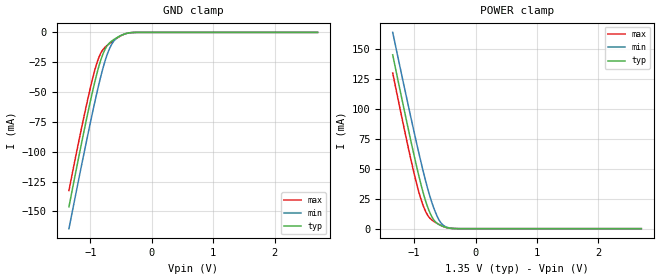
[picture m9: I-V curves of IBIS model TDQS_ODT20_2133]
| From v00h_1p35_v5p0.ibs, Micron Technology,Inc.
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| MODEL TDQS_ODT20_2133 (TDQS Terminator Model with 20ohm ODT, 2133Mbps)
[Model]   TDQS_ODT20_2133
Model_type   Terminator
|   typ   min   max
|C_comp   0.955pF   0.842pF   1.103pF
C_comp_power_clamp   0.4775pF   0.4210pF   0.5515pF
C_comp_gnd_clamp   0.4775pF   0.4210pF   0.5515pF
| Note: C_comp changes when the ODT circuit is enabled.
[Voltage Range]   1.3500V   1.2830V   1.4250V
| Junction Temperature (Ambient temp is 35C typ, 95C min, 0C max)
[Temperature Range]   50.0   110.0   0.0
[Add Submodel]
| Submodel Name   Mode
20ohm_ODT_2133   Non-Driving
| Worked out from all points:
|   GND clamp passes 1 mA (typ) near -0.42 V on its own axis
|   POWER clamp passes 1 mA (typ) near -0.48 V on its own axis
[GND Clamp]
|   Voltage   I(typ)   I(min)   I(max)
-1.35V    -146.2mA   -164.5mA   -132.5mA
-1.21V    -109.5mA   -128.1mA   -96.32mA
-1.08V    -76.63mA   -95.04mA   -64.51mA
-980mV    -52.82mA   -70.48mA   -41.89mA
-900mV    -35.56mA   -51.78mA   -26.51mA
-820mV    -21.43mA   -34.64mA   -16.33mA
-725mV    -11mA      -18.25mA   -10.77mA
-650mV    -7.118mA   -9.632mA   -7.774mA
-565mV    -4.295mA   -4.48mA    -4.739mA
-420mV    -972.8uA   -992.6uA   -972.2uA
-285mV    -51.4uA    -79.91uA   -32.63uA
2.7V      0A         0A         0A
[POWER Clamp]
|   Voltage   I(typ)   I(min)   I(max)
-1.35V    145.1mA    163.8mA    129.9mA
-1.18V    103.3mA    122.7mA    87.67mA
-1.055V   73.47mA    93.07mA    58.03mA
-960mV    51.8mA     71.21mA    37.44mA
-880mV    34.98mA    53.54mA    23.07mA
-790mV    19.4mA     35.26mA    12.01mA
-705mV    9.269mA    20.79mA    6.969mA
-605mV    3.73mA     8.193mA    3.781mA
-525mV    1.788mA    2.801mA    1.814mA
-435mV    528.8uA    725.1uA    459.8uA
-275mV    15.2uA     34.53uA    6.399uA
2.7V      0A         0A         0A
